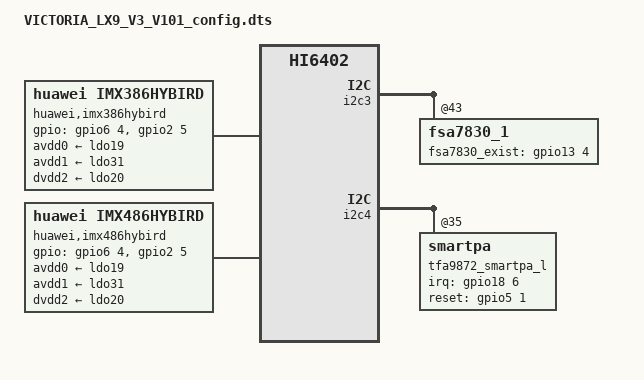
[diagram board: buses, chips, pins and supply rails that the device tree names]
/**
 * Huawei Ltd.
 * PhosphorV660
 */

/dts-v1/;

/include/ "fastboot.dtsi"
/include/ "VICTORIA_TUGL_V1_config.dtsi"
/include/ "VICTORIA_LX9_V3_V101_pin.dtsi"
/include/ "VICTORIA_LX9_V3_V101_modem_pin.dtsi"
/include/ "VICTORIA_LX9_V3_V101_hi6402_pin.dtsi"

/{
    hisi,boardid = <5 4 0 3>;
    hisi,boardname = "VICTORIA_LX9_V3_V101";
    hisi,modem_id = <0x3A020C00>;

    codec_controller: codec_controller@e82b9000 {
        hi64xx_irq: hi64xx_irq@0 {
            hi6403_codec: hi6403_codec@0{
                status = "ok";
            };
            hi6403es_codec: hi6403es_codec@0{
                status = "disabled";
            };
        };
    };

    sound {
        compatible = "hisilicon,hi3xxx-hi6403";
        status = "ok";
    };

	bcm_wifi {
		wifi_nvram_name = "/vendor/firmware/nvram4359_hw_victoria_v3.txt";
	};

	huawei,imx386hybird{
		compatible = "huawei,imx386hybird";
		huawei,sensor_name = "IMX386HYBIRD";
		huawei,sensor_index = <0>;
		huawei,is_fpga = <0>;
		huawei,pd_valid = <1>;
		huawei,reset_valid = <1>;
		huawei,vcmpd_valid = <0>;
		huawei,csi_index = <0 2>;
		huawei,i2c_index = <0 2>;
		clocks = <&clk_gate_isp_snclk0 &clk_gate_isp_snclk2>;
		clock-names = "clk_isp_snclk0", "clk_isp_snclk2";
		huawei,mclk = <24000000>;
		avdd0-supply = <&ldo19>;
		avdd1-supply = <&ldo31>;
		dvdd2-supply = <&ldo20>;
		huawei,ldo-names = "avdd0", "avdd1", "dvdd2";
		gpios = <&gpio6 4 0 &gpio2 5 0>;
		huawei,gpio-ctrl-types = "reset", "reset2";
		module_type = <0>;/*bit0=enable ,other bits=type*/
		status = "ok";
	};
	huawei,imx486hybird{
		compatible = "huawei,imx486hybird";
		huawei,sensor_name = "IMX486HYBIRD";
		huawei,sensor_index = <0>;
		huawei,is_fpga = <0>;
		huawei,pd_valid = <1>;
		huawei,reset_valid = <1>;
		huawei,vcmpd_valid = <0>;
		huawei,csi_index = <0 2>;
		huawei,i2c_index = <0 2>;
		clocks = <&clk_gate_isp_snclk0 &clk_gate_isp_snclk2>;
		clock-names = "clk_isp_snclk0", "clk_isp_snclk2";
		huawei,mclk = <24000000>;
		avdd0-supply = <&ldo19>;
		avdd1-supply = <&ldo31>;
		dvdd2-supply = <&ldo20>;
		huawei,ldo-names = "avdd0", "avdd1", "dvdd2";
		gpios = <&gpio6 4 0 &gpio2 5 0>;
		huawei,gpio-ctrl-types = "reset", "reset2";
		module_type = <0>;/*bit0=enable ,other bits=type*/
		status = "ok";
	};
	amba {
		i2c3: i2c@FDF0C000 {
			fsa7830_1:fsa7830_1@43 {
				huawei,fsa7830_exist_gpio = <&gpio13 4 0>;
				pinctrl-names = "default", "idle";
				pinctrl-0 = <&gpio108_cfg_func &gpio108_pmx_func>;
				pinctrl-1 = <&gpio108_cfg_idle &gpio108_pmx_idle>;
			};
		};

		i2c4: i2c@FDF0D000 {
			max98925_smartpa_l:smartpa@31 {
				status = "disabled";
			};

			tfa9872_smartpa_l:smartpa@35 {
				status = "ok";
				gain_incall = <0x0F>;
				gain = <0x0F>;
				gpio_irq = <&gpio18 6 0>;
				gpio_reset = <&gpio5 1 0>;
				dcie_cfg = <0>;
			};
		};
	};

	tfa98xx_ioctl {
		status = "ok";
	};

	audio_hw_config {
		spk_pa_name = "tfa9872";
		codec_dsp_algo = "nxp|mad";
		ear_pa_name = "none";
	};

	antenna_boardid_detect:antenna_boardid_detect{
		expect_value = <0>;
	};
};


